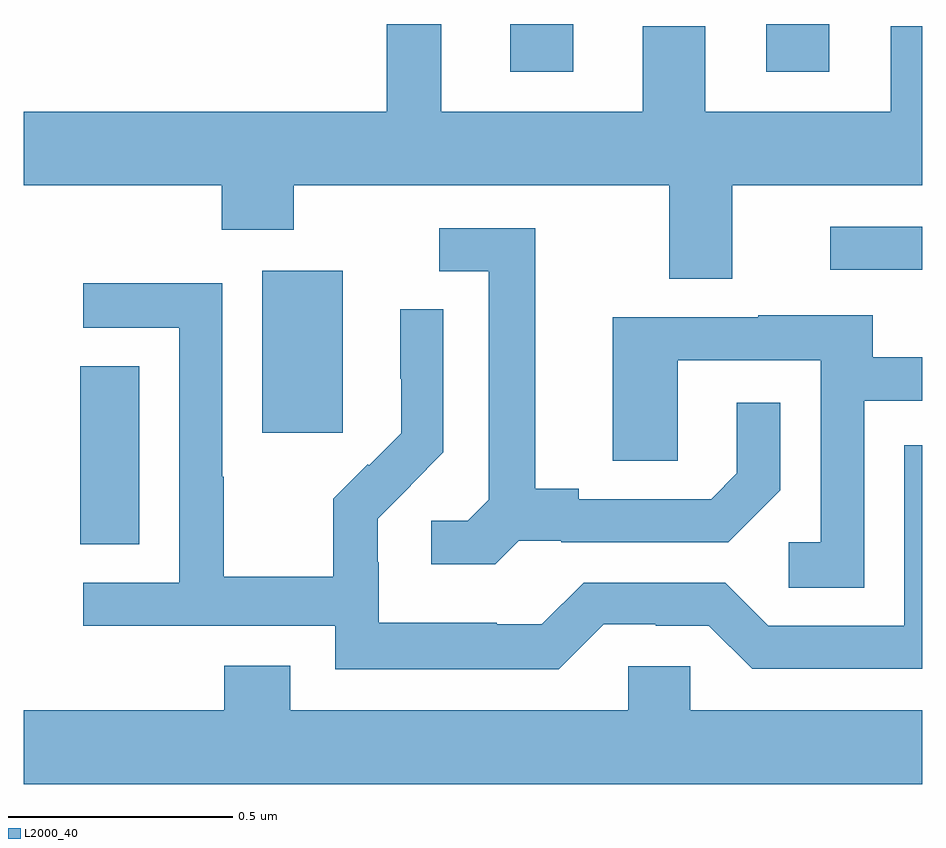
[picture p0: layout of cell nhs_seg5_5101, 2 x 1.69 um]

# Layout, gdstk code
import gdstk
lib = gdstk.Library(unit=1e-6, precision=1e-09)
def R(c, l, rs):  # rectangles x0, y0, x1, y1
    for r in rs: c.add(gdstk.rectangle(r[:2], r[2:], *l))
def P(c, l, *ps):  # polygons
    for p in ps: c.add(gdstk.Polygon(p, *l))
L2000_40 = (2000, 40)

nhs_seg5_5101 = lib.new_cell('nhs_seg5_5101')
R(nhs_seg5_5101, L2000_40, [(179.126,842.641,179.257,843.038), (179.531,842.889,179.71,843.25), (180.795,843.252,181,843.348), (180.083,843.693,180.223,843.799), (180.653,843.693,180.793,843.799)])
P(nhs_seg5_5101, L2000_40, [(180.577,843.44),(181,843.44),(181,843.794),(180.929,843.794),(180.929,843.604),(180.517,843.604),(180.517,843.794),(180.378,843.794),(180.378,843.604),(179.929,843.604),(179.929,843.799),(179.808,843.799),(179.808,843.604),(179,843.604),(179,843.44),(179.441,843.44),(179.441,843.341),(179.601,843.341),(179.601,843.44),(180.437,843.44),(180.437,843.232),(180.577,843.232)],
  [(180.102,842.649),(180.196,842.649),(180.196,842.646),(180.568,842.646),(180.684,842.762),(180.684,842.956),(180.587,842.956),(180.587,842.799),(180.53,842.742),(180.235,842.742),(180.235,842.765),(180.139,842.765),(180.139,843.345),(179.925,843.345),(179.925,843.249),(180.035,843.249),(180.035,842.741),(179.988,842.694),(179.907,842.694),(179.907,842.597),(180.05,842.597)],
  [(180.291,842.463),(180.407,842.463),(180.407,842.46),(180.525,842.46),(180.621,842.364),(181,842.364),(181,842.862),(180.96,842.862),(180.96,842.46),(180.657,842.46),(180.561,842.556),(180.246,842.556),(180.153,842.463),(180.053,842.463),(180.053,842.467),(179.79,842.467),(179.79,842.601),(179.788,842.601),(179.788,842.698),(179.862,842.772),(179.861,842.773),(179.934,842.846),(179.934,843.164),(179.838,843.164),(179.838,843.01),(179.84,843.01),(179.84,842.888),(179.769,842.817),(179.766,842.82),(179.689,842.743),(179.689,842.569),(179.445,842.569),(179.445,842.792),(179.442,842.792),(179.442,843.222),(179.133,843.222),(179.133,843.123),(179.346,843.123),(179.346,842.556),(179.133,842.556),(179.133,842.46),(179.694,842.46),(179.694,842.363),(180.191,842.363)],
  [(180.87,842.961),(181,842.961),(181,843.057),(180.889,843.057),(180.889,843.151),(180.635,843.151),(180.635,843.147),(180.311,843.147),(180.311,842.827),(180.456,842.827),(180.456,843.051),(180.774,843.051),(180.774,842.646),(180.702,842.646),(180.702,842.545),(180.87,842.545)],
  [(181,842.272),(180.483,842.272),(180.483,842.37),(180.345,842.37),(180.345,842.272),(179.593,842.272),(179.593,842.371),(179.446,842.371),(179.446,842.272),(179,842.272),(179,842.108),(181,842.108)])

lib.write_gds('nhs_seg5_5101.gds')
